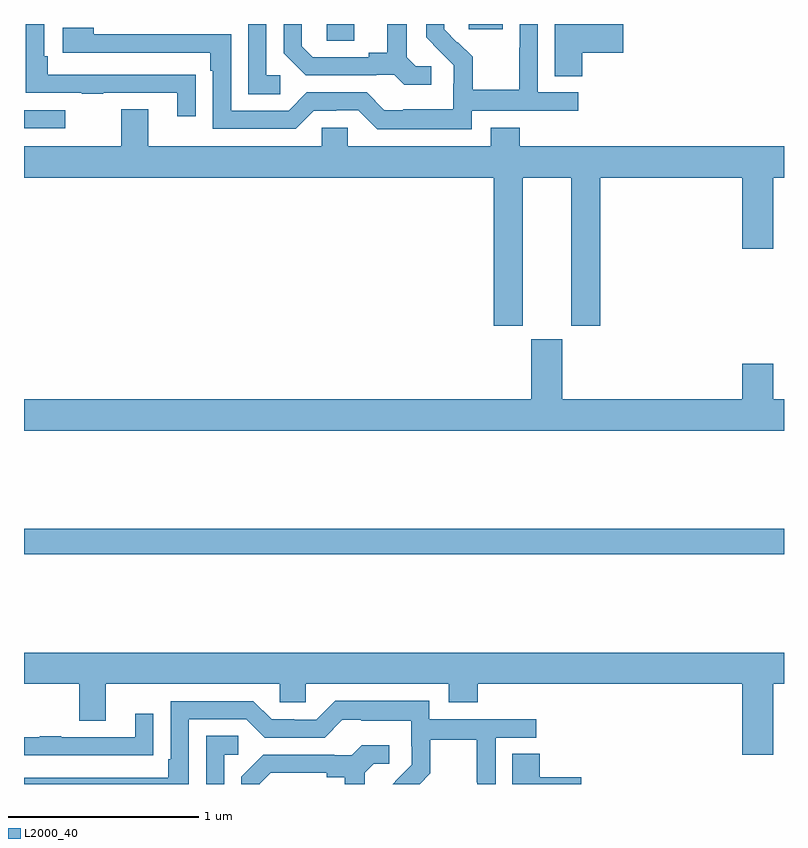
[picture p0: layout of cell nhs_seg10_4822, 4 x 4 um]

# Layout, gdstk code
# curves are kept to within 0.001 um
import gdstk
lib = gdstk.Library(unit=1e-6, precision=1e-09)
def R(c, l, rs):  # rectangles x0, y0, x1, y1
    for r in rs: c.add(gdstk.rectangle(r[:2], r[2:], *l))
def P(c, l, *ps):  # polygons
    for p in ps: c.add(gdstk.Polygon(p, *l))
L2000_40 = (2000, 40)

nhs_seg10_4822 = lib.new_cell('nhs_seg10_4822')
R(nhs_seg10_4822, L2000_40, [(389,1255.708,393,1255.844), (389,1257.951,389.218,1258.047), (390.594,1258.411,390.739,1258.5), (391.34,1258.473,391.519,1258.5)])
P(nhs_seg10_4822, L2000_40, [(391.937,1258.349),(392.155,1258.349),(392.155,1258.5),(391.793,1258.5),(391.793,1258.225),(391.937,1258.225)],
  [(390.349,1258.23),(390.276,1258.23),(390.276,1258.5),(390.18,1258.5),(390.18,1258.129),(390.349,1258.129)],
  [(391.356,1258.044),(391.918,1258.044),(391.918,1258.14),(391.704,1258.14),(391.704,1258.5),(391.608,1258.5),(391.608,1258.376),(391.606,1258.376),(391.606,1258.153),(391.361,1258.153),(391.361,1258.327),(391.284,1258.404),(391.281,1258.401),(391.211,1258.472),(391.211,1258.5),(391.116,1258.5),(391.116,1258.43),(391.262,1258.282),(391.262,1258.185),(391.26,1258.185),(391.26,1258.051),(390.997,1258.051),(390.997,1258.047),(390.897,1258.047),(390.804,1258.14),(390.489,1258.14),(390.393,1258.044),(390.09,1258.044),(390.09,1258.446),(389.366,1258.446),(389.366,1258.48),(389.205,1258.48),(389.205,1258.35),(389.981,1258.35),(389.981,1258.253),(389.994,1258.253),(389.994,1257.948),(390.429,1257.948),(390.525,1258.044),(390.644,1258.044),(390.644,1258.047),(390.759,1258.047),(390.859,1257.947),(391.356,1257.947)],
  [(389.903,1258.232),(389.801,1258.232),(389.801,1258.233),(389.126,1258.233),(389.126,1258.33),(389.106,1258.33),(389.106,1258.5),(389.01,1258.5),(389.01,1258.137),(389.305,1258.137),(389.305,1258.132),(389.417,1258.132),(389.417,1258.137),(389.807,1258.137),(389.807,1258.014),(389.903,1258.014)],
  [(391.144,1258.278),(391.062,1258.278),(391.015,1258.325),(391.015,1258.5),(390.911,1258.5),(390.911,1258.349),(390.815,1258.349),(390.815,1258.326),(390.52,1258.326),(390.463,1258.383),(390.463,1258.5),(390.366,1258.5),(390.366,1258.346),(390.482,1258.23),(390.854,1258.23),(390.854,1258.233),(390.948,1258.233),(391,1258.181),(391.144,1258.181)],
  [(391.624,1257.692),(391.88,1257.692),(391.88,1256.913),(392.033,1256.913),(392.033,1257.692),(392.78,1257.692),(392.78,1257.318),(392.944,1257.318),(392.944,1257.692),(393,1257.692),(393,1257.856),(391.61,1257.856),(391.61,1257.955),(391.457,1257.955),(391.457,1257.856),(390.705,1257.856),(390.705,1257.954),(390.567,1257.954),(390.567,1257.856),(389.653,1257.856),(389.653,1258.051),(389.513,1258.051),(389.513,1257.856),(389,1257.856),(389,1257.692),(391.472,1257.692),(391.472,1256.913),(391.624,1256.913)],
  [(393,1256.524),(392.944,1256.524),(392.944,1256.713),(392.78,1256.713),(392.78,1256.524),(391.834,1256.524),(391.834,1256.841),(391.67,1256.841),(391.67,1256.524),(389,1256.524),(389,1256.36),(393,1256.36)],
  [(392.944,1255.028),(393,1255.028),(393,1255.192),(389,1255.192),(389,1255.028),(389.291,1255.028),(389.291,1254.834),(389.431,1254.834),(389.431,1255.028),(390.345,1255.028),(390.345,1254.93),(390.483,1254.93),(390.483,1255.028),(391.235,1255.028),(391.235,1254.929),(391.388,1254.929),(391.388,1255.028),(392.78,1255.028),(392.78,1254.654),(392.944,1254.654)],
  [(389.868,1254.84),(390.171,1254.84),(390.267,1254.744),(390.582,1254.744),(390.675,1254.837),(390.775,1254.837),(390.775,1254.833),(391.038,1254.833),(391.038,1254.699),(391.04,1254.699),(391.04,1254.602),(390.966,1254.528),(390.967,1254.527),(390.94,1254.5),(391.082,1254.5),(391.139,1254.557),(391.139,1254.732),(391.384,1254.732),(391.384,1254.508),(391.386,1254.508),(391.386,1254.5),(391.482,1254.5),(391.482,1254.744),(391.696,1254.744),(391.696,1254.84),(391.134,1254.84),(391.134,1254.937),(390.637,1254.937),(390.537,1254.837),(390.422,1254.837),(390.422,1254.84),(390.303,1254.84),(390.207,1254.936),(389.772,1254.936),(389.772,1254.631),(389.759,1254.631),(389.759,1254.534),(389,1254.534),(389,1254.5),(389.868,1254.5)],
  [(389.579,1254.652),(389.681,1254.652),(389.681,1254.871),(389.585,1254.871),(389.585,1254.747),(389.195,1254.747),(389.195,1254.752),(389.083,1254.752),(389.083,1254.747),(389,1254.747),(389,1254.651),(389.579,1254.651)],
  [(390.054,1254.654),(390.127,1254.654),(390.127,1254.755),(389.958,1254.755),(389.958,1254.5),(390.054,1254.5)],
  [(390.241,1254.501),(390.298,1254.558),(390.593,1254.558),(390.593,1254.536),(390.689,1254.536),(390.689,1254.5),(390.793,1254.5),(390.793,1254.559),(390.84,1254.606),(390.922,1254.606),(390.922,1254.703),(390.778,1254.703),(390.726,1254.651),(390.632,1254.651),(390.632,1254.654),(390.26,1254.654),(390.144,1254.538),(390.144,1254.5)],
  [(391.933,1254.536),(391.715,1254.536),(391.715,1254.659),(391.571,1254.659),(391.571,1254.5),(391.933,1254.5)])

lib.write_gds('nhs_seg10_4822.gds')
